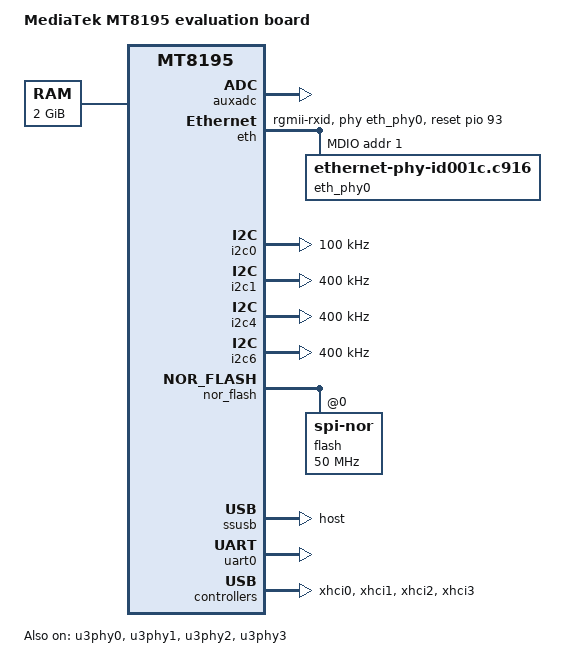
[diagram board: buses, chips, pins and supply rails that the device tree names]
// SPDX-License-Identifier: (GPL-2.0 OR MIT)
/*
 * Copyright (C) 2021 MediaTek Inc.
 * Author: Seiya Wang <seiya.wang@mediatek.com>
 */
/dts-v1/;
#include "mt8195.dtsi"
#include <dt-bindings/gpio/gpio.h>

/ {
	model = "MediaTek MT8195 evaluation board";
	compatible = "mediatek,mt8195-evb", "mediatek,mt8195";

	aliases {
		serial0 = &uart0;
	};

	chosen {
		stdout-path = "serial0:921600n8";
	};

	memory@40000000 {
		device_type = "memory";
		reg = <0 0x40000000 0 0x80000000>;
	};
};

&auxadc {
	status = "okay";
};

&eth {
	phy-mode ="rgmii-rxid";
	phy-handle = <&eth_phy0>;
	snps,reset-gpio = <&pio 93 GPIO_ACTIVE_HIGH>;
	snps,reset-delays-us = <0 10000 10000>;
	mediatek,tx-delay-ps = <2030>;
	pinctrl-names = "default", "sleep";
	pinctrl-0 = <&eth_default_pins>;
	pinctrl-1 = <&eth_sleep_pins>;
	status = "okay";

	mdio {
		compatible = "snps,dwmac-mdio";
		#address-cells = <1>;
		#size-cells = <0>;
		eth_phy0: eth_phy0@1 {
			compatible = "ethernet-phy-id001c.c916";
			#phy-cells = <0>;
			reg = <0x1>;
		};
	};
};

&i2c0 {
	pinctrl-names = "default";
	pinctrl-0 = <&i2c0_pin>;
	clock-frequency = <100000>;
	status = "okay";
};

&i2c1 {
	pinctrl-names = "default";
	pinctrl-0 = <&i2c1_pin>;
	clock-frequency = <400000>;
	status = "okay";
};

&i2c4 {
	pinctrl-names = "default";
	pinctrl-0 = <&i2c4_pin>;
	clock-frequency = <400000>;
	status = "okay";
};

&i2c6 {
	pinctrl-names = "default";
	pinctrl-0 = <&i2c6_pin>;
	clock-frequency = <400000>;
	status = "okay";
};

&nor_flash {
	status = "okay";
	pinctrl-names = "default";
	pinctrl-0 = <&nor_pins_default>;

	flash@0 {
		compatible = "jedec,spi-nor";
		reg = <0>;
		spi-max-frequency = <50000000>;
	};
};

&pio {
	eth_default_pins: eth-default-pins {
		pins-cc {
			pinmux = <PINMUX_GPIO85__FUNC_GBE_TXC>,
				 <PINMUX_GPIO88__FUNC_GBE_TXEN>,
				 <PINMUX_GPIO87__FUNC_GBE_RXDV>,
				 <PINMUX_GPIO86__FUNC_GBE_RXC>;
			drive-strength = <MTK_DRIVE_8mA>;
		};
		pins-mdio {
			pinmux = <PINMUX_GPIO89__FUNC_GBE_MDC>,
				 <PINMUX_GPIO90__FUNC_GBE_MDIO>;
			input-enable;
		};
		pins-power {
			pinmux = <PINMUX_GPIO91__FUNC_GPIO91>,
				 <PINMUX_GPIO92__FUNC_GPIO92>;
			output-high;
		};
		pins-rxd {
			pinmux = <PINMUX_GPIO81__FUNC_GBE_RXD3>,
				 <PINMUX_GPIO82__FUNC_GBE_RXD2>,
				 <PINMUX_GPIO83__FUNC_GBE_RXD1>,
				 <PINMUX_GPIO84__FUNC_GBE_RXD0>;
		};
		pins-txd {
			pinmux = <PINMUX_GPIO77__FUNC_GBE_TXD3>,
				 <PINMUX_GPIO78__FUNC_GBE_TXD2>,
				 <PINMUX_GPIO79__FUNC_GBE_TXD1>,
				 <PINMUX_GPIO80__FUNC_GBE_TXD0>;
			drive-strength = <MTK_DRIVE_8mA>;
		};
	};

	eth_sleep_pins: eth-sleep-pins {
		pins-cc {
			pinmux = <PINMUX_GPIO85__FUNC_GPIO85>,
				 <PINMUX_GPIO88__FUNC_GPIO88>,
				 <PINMUX_GPIO87__FUNC_GPIO87>,
				 <PINMUX_GPIO86__FUNC_GPIO86>;
		};
		pins-mdio {
			pinmux = <PINMUX_GPIO89__FUNC_GPIO89>,
				 <PINMUX_GPIO90__FUNC_GPIO90>;
			input-disable;
			bias-disable;
		};
		pins-power {
			pinmux = <PINMUX_GPIO91__FUNC_GPIO91>,
				 <PINMUX_GPIO92__FUNC_GPIO92>;
			input-disable;
			bias-disable;
		};
		pins-rxd {
			pinmux = <PINMUX_GPIO81__FUNC_GPIO81>,
				 <PINMUX_GPIO82__FUNC_GPIO82>,
				 <PINMUX_GPIO83__FUNC_GPIO83>,
				 <PINMUX_GPIO84__FUNC_GPIO84>;
		};
		pins-txd {
			pinmux = <PINMUX_GPIO77__FUNC_GPIO77>,
				 <PINMUX_GPIO78__FUNC_GPIO78>,
				 <PINMUX_GPIO79__FUNC_GPIO79>,
				 <PINMUX_GPIO80__FUNC_GPIO80>;
		};
	};

	i2c0_pin: i2c0-pins {
		pins {
			pinmux = <PINMUX_GPIO8__FUNC_SDA0>,
				 <PINMUX_GPIO9__FUNC_SCL0>;
			bias-pull-up = <MTK_PUPD_SET_R1R0_01>;
			mediatek,drive-strength-adv = <0>;
			drive-strength = <6>;
		};
	};

	i2c1_pin: i2c1-pins {
		pins {
			pinmux = <PINMUX_GPIO10__FUNC_SDA1>,
				 <PINMUX_GPIO11__FUNC_SCL1>;
			bias-pull-up = <MTK_PUPD_SET_R1R0_01>;
			mediatek,drive-strength-adv = <0>;
			drive-strength = <6>;
		};
	};

	i2c4_pin: i2c4-pins {
		pins {
			pinmux = <PINMUX_GPIO16__FUNC_SDA4>,
				 <PINMUX_GPIO17__FUNC_SCL4>;
			bias-pull-up = <MTK_PUPD_SET_R1R0_01>;
			mediatek,drive-strength-adv = <7>;
		};
	};

	i2c6_pin: i2c6-pins {
		pins {
			pinmux = <PINMUX_GPIO25__FUNC_SDA6>,
				 <PINMUX_GPIO26__FUNC_SCL6>;
			bias-pull-up = <MTK_PUPD_SET_R1R0_01>;
		};
	};

	i2c7_pin: i2c7-pins {
		pins {
			pinmux = <PINMUX_GPIO27__FUNC_SCL7>,
				 <PINMUX_GPIO28__FUNC_SDA7>;
			bias-pull-up = <MTK_PUPD_SET_R1R0_01>;
		};
	};

	nor_pins_default: nor-pins {
		pins0 {
			pinmux = <PINMUX_GPIO142__FUNC_SPINOR_IO0>,
				 <PINMUX_GPIO141__FUNC_SPINOR_CK>,
				 <PINMUX_GPIO143__FUNC_SPINOR_IO1>;
			bias-pull-down;
		};

		pins1 {
			pinmux = <PINMUX_GPIO140__FUNC_SPINOR_CS>,
				 <PINMUX_GPIO130__FUNC_SPINOR_IO2>,
				 <PINMUX_GPIO131__FUNC_SPINOR_IO3>;
			bias-pull-up;
		};
	};

	uart0_pin: uart0-pins {
		pins {
			pinmux = <PINMUX_GPIO98__FUNC_UTXD0>,
				 <PINMUX_GPIO99__FUNC_URXD0>;
		};
	};
};

&ssusb {
	dr_mode = "host";
	status = "okay";
};

&u3phy0 {
	status="okay";
};

&u3phy1 {
	status="okay";
};

&u3phy2 {
	status="okay";
};

&u3phy3 {
	status="okay";
};

&uart0 {
	pinctrl-names = "default";
	pinctrl-0 = <&uart0_pin>;
	status = "okay";
};

&xhci0 {
	status = "okay";
};

&xhci1 {
	status = "okay";
};

&xhci2 {
	status = "okay";
};

&xhci3 {
	/* This controller is connected with a BT device.
	 * Disable usb2 lpm to prevent known issues.
	 */
	usb2-lpm-disable;
	status = "okay";
};
